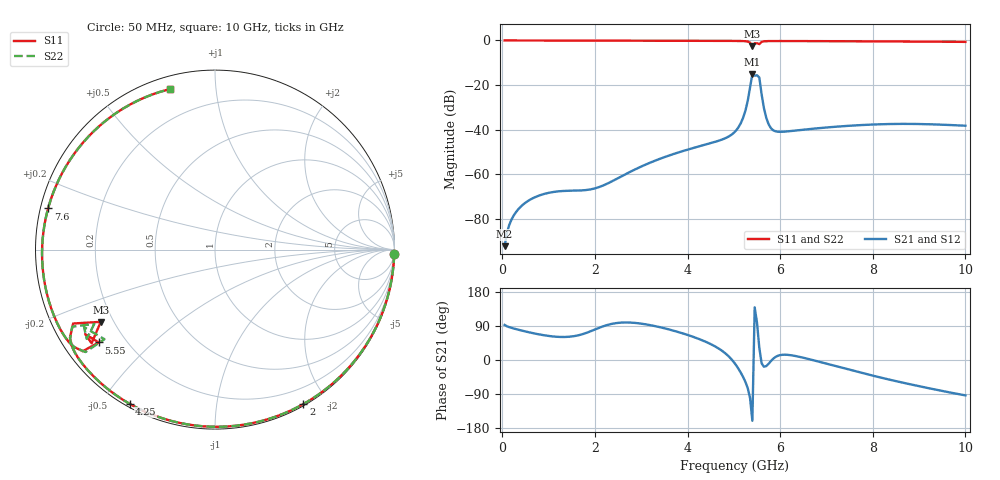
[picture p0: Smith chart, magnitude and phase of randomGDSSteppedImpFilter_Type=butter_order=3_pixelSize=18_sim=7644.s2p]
! freq	dB(S11)	phase(S11)	dB(S12)	phase(S12)
!  dB(S21)	phase(S21)	dB(S22)	phase(S22)
!S-par simulation data
#  GHz  S  DB  R 50
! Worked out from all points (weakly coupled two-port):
!   200 points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, 50 MHz to 10 GHz, reference 50 ohm
!   highest |S21| = -15.07 dB at 5.4 GHz (marker M1); lowest = -92.3 dB at 50 MHz (marker M2)
!   lowest |S11| = -2.5 dB at 5.4 GHz (marker M3), VSWR 7.09, Z = 7.63 - j14.2 ohm
!   |S11| at or under -10 dB: nowhere
!   |S22| runs from -2.1 to 0.0 dB; largest |S21 - S12| = 0
!   S11 on the Smith chart (normalised r, x): 50 MHz: 2, -76; 2 GHz: 0.02, -1.72; 4.25 GHz: 0.01, -0.59; 5.55 GHz: 0.10, -0.35; 7.6 GHz: 0.02, +0.12; 10 GHz: 0.06, +0.76
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0.05  -0.01 -1.5  -92.29 92.6  -92.29 92.6  -0.01 -1.5
0.2  -0.02 -6.2  -80.31 84.8  -80.31 84.8  -0.02 -6.2
0.45  -0.02 -14.0  -73.61 76.8  -73.61 76.8  -0.02 -14.0
0.8  -0.03 -24.7  -69.54 67.4  -69.54 67.4  -0.03 -24.7
1.75  -0.07 -53.0  -67.22 68.8  -67.22 68.8  -0.07 -53.0
2  -0.07 -60.2  -66.37 80.5  -66.37 80.5  -0.07 -60.2
3.4  -0.12 -97.9  -53.12 86.7  -53.12 86.7  -0.12 -97.8
4.25  -0.16 -119.0  -47.52 55.3  -47.52 55.3  -0.16 -119.0
5.05  -0.22 -139.1  -40.35 -13.9  -40.35 -13.9  -0.22 -139.0
5.25  -0.34 -146.0  -31.49 -57.9  -31.49 -57.9  -0.32 -145.7
5.35  -1.00 -152.5  -21.03 -100.5  -21.03 -100.5  -0.88 -151.6
5.4  -2.47 -147.7  -15.07 -160.3  -15.07 -160.3  -2.05 -148.4
5.45  -1.28 -142.8  -15.82 139.0  -15.82 139.0  -1.20 -145.1
5.5  -1.28 -146.9  -15.62 98.7  -15.62 98.7  -1.43 -149.3
5.55  -1.63 -141.4  -16.63 32.1  -16.63 32.1  -2.02 -141.0
5.65  -0.39 -145.5  -30.39 -17.8  -30.39 -17.8  -0.42 -145.1
5.8  -0.28 -151.2  -39.35 -2.9  -39.35 -2.9  -0.28 -151.0
6  -0.26 -156.6  -41.01 12.8  -41.01 12.8  -0.27 -156.6
6.7  -0.30 -173.2  -39.62 -0.1  -39.62 -0.1  -0.30 -173.1
7.6  -0.37 166.1  -38.14 -29.0  -38.14 -29.0  -0.37 166.2
8.35  -0.45 148.4  -37.50 -51.5  -37.50 -51.5  -0.45 148.4
10  -0.64 105.5  -38.26 -93.4  -38.26 -93.4  -0.64 105.5
